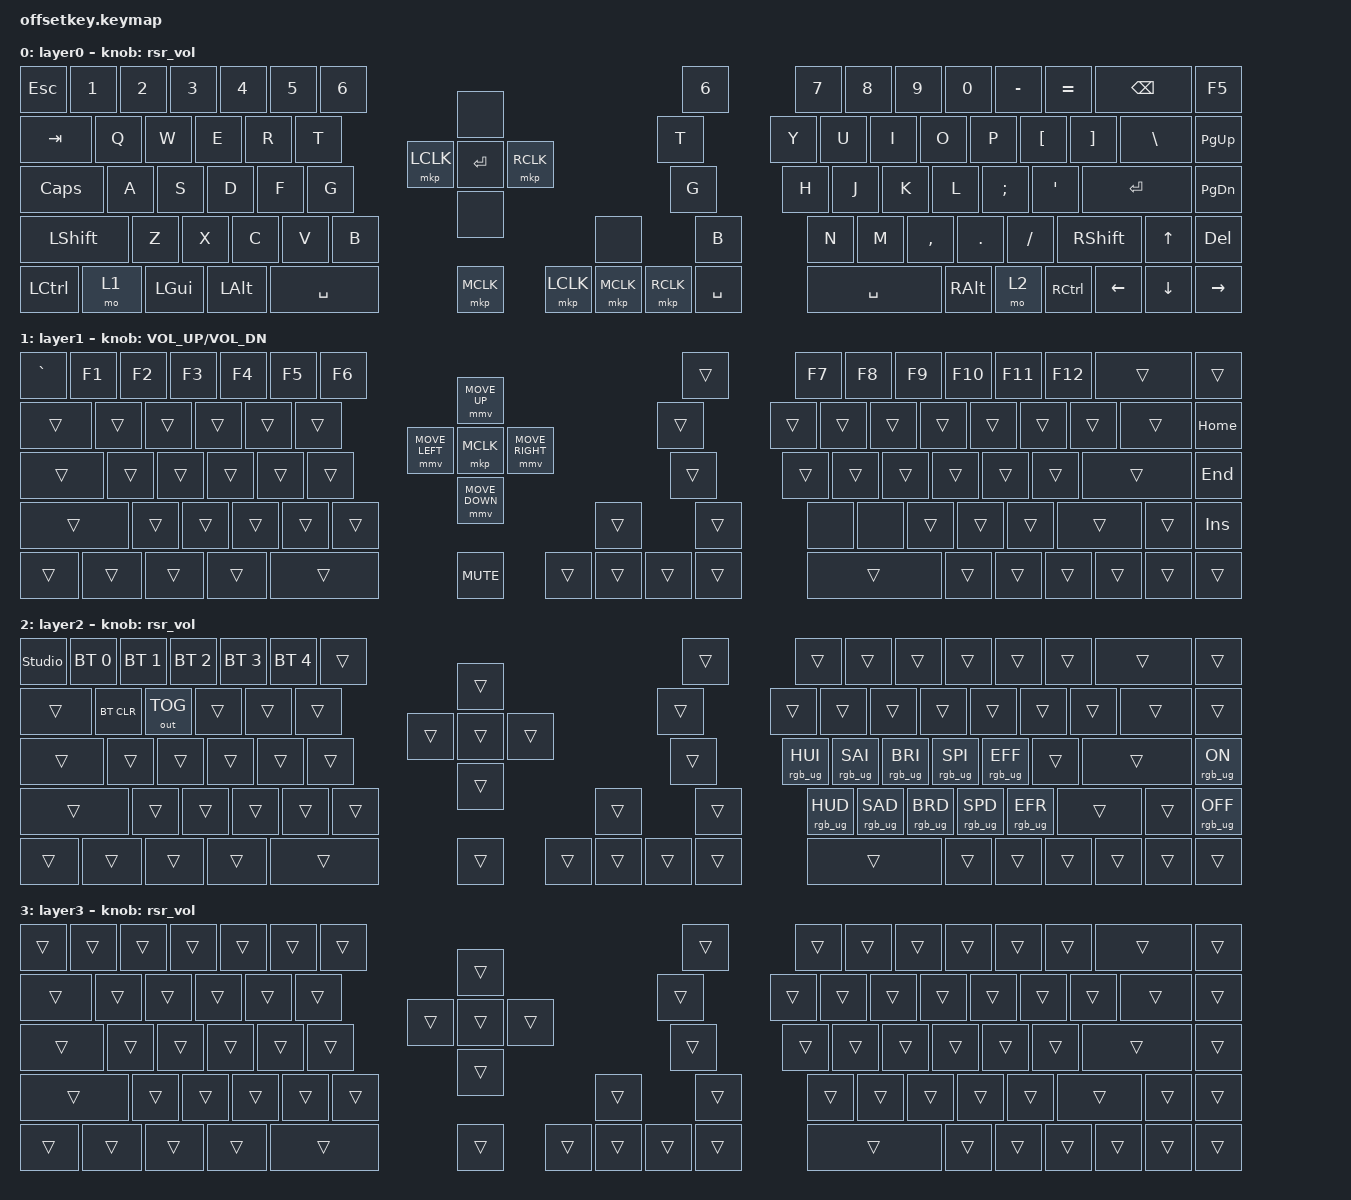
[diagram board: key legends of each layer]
#define BASE 0
#define LOWER 1
#define MOUSE_KEYS 2
#define MOUSE_TP 3
#define MOUSE_TP_SET 4

#include <zephyr/dt-bindings/input/input-event-codes.h>
#include <input/processors.dtsi>
#include <behaviors/runtime-sensor-rotate.dtsi>
#include <behaviors/runtime_macro.dtsi>
#include <behaviors.dtsi>
#include <dt-bindings/zmk/bt.h>
#include <dt-bindings/zmk/keys.h>
#include <dt-bindings/zmk/outputs.h>
#include <dt-bindings/zmk/pointing.h>
#include <dt-bindings/zmk/rgb.h>

&mmv_input_listener { input-processors = <&zip_xy_scaler 2 1>; };

&msc_input_listener { input-processors = <&zip_scroll_scaler 2 1>; };

&msc {
    acceleration-exponent = <1>;      // 0
    time-to-max-speed-ms = <100>;       // 300
    delay-ms = <0>;                   // 0
};

&mmv {
    time-to-max-speed-ms = <500>;
    acceleration-exponent = <1>;
    trigger-period-ms = <16>;
};

/ {
    behaviors {
        rsr_vol: rsr_vol {
            compatible = "zmk,behavior-runtime-sensor-rotate";
            #sensor-binding-cells = <0>;
            tap-ms = <5>;
            cw-binding = <&kp C_VOL_UP>;
            ccw-binding = <&kp C_VOL_DN>;
        };

        ltq: ltq {
            compatible = "zmk,behavior-hold-tap";
            label = "LTQ";
            bindings = <&mo>, <&kp>;

            #binding-cells = <2>;
            tapping-term-ms = <200>;
            quick-tap-ms = <180>;
        };
    };

    combos {
        compatible = "zmk,combos";

        flash {
            bindings = <&bootloader>;
            key-positions = <0 11>;
        };
    };

    keymap {
        compatible = "zmk,keymap";

        BASE {
            bindings = <
&kp ESC    &kp N1     &kp N2     &kp N3    &kp N4     &kp N5     &kp N6      &kp N7     &kp N8     &kp N9         &kp N0   &kp MINUS  &kp EQUAL  &kp BSPC      &kp F5                 &kp NUMBER_6
&kp TAB    &kp Q      &kp W      &kp E     &kp R      &kp T                  &kp Y      &kp U      &kp I          &kp O    &kp P      &kp LBKT   &kp RBKT      &kp BSLH    &kp PG_UP  &kp T
&kp CAPS   &kp A      &kp S      &kp D     &kp F      &kp G                  &kp H      &kp J      &kp K          &kp L    &kp SEMI   &kp APOS   &kp ENTER     &kp PG_DN              &kp G
&kp LSHFT  &kp Z      &kp X      &kp C     &kp V      &kp B                  &kp N      &kp M      &kp COMMA      &kp DOT  &kp FSLH   &kp RSHFT  &kp UP_ARROW  &kp DELETE             &kp B
&kp LCTRL  &mo 1      &kp LGUI   &kp LALT             &kp SPACE                         &kp SPACE  &kp RIGHT_ALT  &mo 2    &kp RCTRL  &kp LEFT   &kp DOWN      &kp RIGHT              &kp SPACE
&none      &mkp LCLK  &mkp RCLK  &none     &kp ENTER  &mkp MCLK              &mkp LCLK  &mkp MCLK  &mkp RCLK      &none
            >;

            label = "layer0";
            sensor-bindings = <&rsr_vol>;
        };

        layer_1 {
            bindings = <
&kp GRAVE     &kp F1          &kp F2           &kp F3          &kp F4     &kp F5      &kp F6      &kp F7  &kp F8  &kp F9  &kp F10  &kp F11  &kp F12  &trans  &trans             &trans
&trans        &trans          &trans           &trans          &trans     &trans                  &trans  &trans  &trans  &trans   &trans   &trans   &trans  &trans   &kp HOME  &trans
&trans        &trans          &trans           &trans          &trans     &trans                  &trans  &trans  &trans  &trans   &trans   &trans   &trans  &kp END            &trans
&trans        &trans          &trans           &trans          &trans     &trans                  &none   &none   &trans  &trans   &trans   &trans   &trans  &kp INS            &trans
&trans        &trans          &trans           &trans                     &trans                          &trans  &trans  &trans   &trans   &trans   &trans  &trans             &trans
&mmv MOVE_UP  &mmv MOVE_LEFT  &mmv MOVE_RIGHT  &mmv MOVE_DOWN  &mkp MCLK  &kp C_MUTE              &trans  &trans  &trans  &trans
            >;

            label = "layer1";
            sensor-bindings = <&inc_dec_kp C_VOL_UP C_VOL_DN>;
        };

        layer_2 {
            bindings = <
&studio_unlock  &bt BT_SEL 0  &bt BT_SEL 1  &bt BT_SEL 2  &bt BT_SEL 3  &bt BT_SEL 4  &trans      &trans           &trans           &trans           &trans           &trans           &trans  &trans  &trans                   &trans
&trans          &bt BT_CLR    &out OUT_TOG  &trans        &trans        &trans                    &trans           &trans           &trans           &trans           &trans           &trans  &trans  &trans           &trans  &trans
&trans          &trans        &trans        &trans        &trans        &trans                    &rgb_ug RGB_HUI  &rgb_ug RGB_SAI  &rgb_ug RGB_BRI  &rgb_ug RGB_SPI  &rgb_ug RGB_EFF  &trans  &trans  &rgb_ug RGB_ON           &trans
&trans          &trans        &trans        &trans        &trans        &trans                    &rgb_ug RGB_HUD  &rgb_ug RGB_SAD  &rgb_ug RGB_BRD  &rgb_ug RGB_SPD  &rgb_ug RGB_EFR  &trans  &trans  &rgb_ug RGB_OFF          &trans
&trans          &trans        &trans        &trans                      &trans                                     &trans           &trans           &trans           &trans           &trans  &trans  &trans                   &trans
&trans          &trans        &trans        &trans        &trans        &trans                    &trans           &trans           &trans           &trans
            >;

            label = "layer2";
            sensor-bindings = <&rsr_vol>;
        };

        layer_3 {
            bindings = <
&trans  &trans  &trans  &trans  &trans  &trans  &trans      &trans  &trans  &trans  &trans  &trans  &trans  &trans  &trans          &trans
&trans  &trans  &trans  &trans  &trans  &trans              &trans  &trans  &trans  &trans  &trans  &trans  &trans  &trans  &trans  &trans
&trans  &trans  &trans  &trans  &trans  &trans              &trans  &trans  &trans  &trans  &trans  &trans  &trans  &trans          &trans
&trans  &trans  &trans  &trans  &trans  &trans              &trans  &trans  &trans  &trans  &trans  &trans  &trans  &trans          &trans
&trans  &trans  &trans  &trans          &trans                      &trans  &trans  &trans  &trans  &trans  &trans  &trans          &trans
&trans  &trans  &trans  &trans  &trans  &trans              &trans  &trans  &trans  &trans
            >;

            label = "layer3";
            sensor-bindings = <&rsr_vol>;
        };
    };
};
